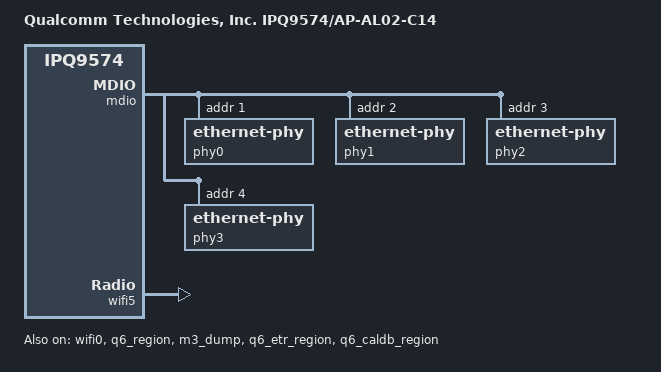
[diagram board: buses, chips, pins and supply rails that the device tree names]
// SPDX-License-Identifier: (GPL-2.0+ OR BSD-3-Clause)
/*
 * IPQ9574 AL02-C14 board device tree source
 *
 * Copyright (c) 2020-2021, The Linux Foundation. All rights reserved.
 * Copyright (c) 2022 Qualcomm Innovation Center, Inc. All rights reserved.
 */

/dts-v1/;

#include "ipq9574-al02-c4.dts"

/ {
        #address-cells = <0x2>;
        #size-cells = <0x2>;
        model = "Qualcomm Technologies, Inc. IPQ9574/AP-AL02-C14";
        compatible = "qcom,ipq9574-ap-al02-c14", "qcom,ipq9574-al08", "qcom,ipq9574";
        interrupt-parent = <&intc>;

        soc {
                dp1 {
                        reg = <0x3a500000 0x4000>;
                        qcom,mactype = <1>;
                        qcom,phy-mdio-addr = <1>;
                };

                dp2 {
                        reg = <0x3a504000 0x4000>;
                        qcom,mactype = <1>;
                        qcom,phy-mdio-addr = <2>;
                };

                dp3 {
                        reg = <0x3a508000 0x4000>;
                        qcom,mactype = <1>;
                        qcom,phy-mdio-addr = <3>;
                };

                dp4 {
                        reg = <0x3a50c000 0x4000>;
                        qcom,mactype = <1>;
                        qcom,phy-mdio-addr = <4>;
                };

                mdio:mdio@90000 {
                        /*gpio60 for manhattan reset*/
                        phy-reset-gpio = <&tlmm 60 0>;
                        phyaddr_fixup = <0xC90F018>;
                        uniphyaddr_fixup = <0xC90F014>;
                        mdio_clk_fixup; /* MDIO clock sequence fix up flag */

                        phy0: ethernet-phy@0 {
                                reg = <1>;
                                fixup;
                        };
                        phy1: ethernet-phy@1 {
                                reg = <2>;
                                fixup;
                        };
                        phy2: ethernet-phy@2 {
                                reg = <3>;
                                fixup;
                        };
                        phy3: ethernet-phy@3 {
                                reg = <4>;
                                fixup;
                        };
                };

                ess-instance {
                        num_devices = <0x1>;
                        ess-switch@3a000000 {
                                switch_mac_mode = <0x15>; /* mac mode for uniphy instance0*/
                                tm_tick_mode = <1>; /* tm tick mode */

                                qcom,port_phyinfo {
                                        port@0 {
                                                phy_address = <1>;
                                        };
                                        port@1 {
                                                phy_address = <2>;
                                        };
                                        port@2 {
                                                phy_address = <3>;
                                        };
                                        port@3 {
                                                phy_address = <4>;
                                        };
                                };

                                led_source@0 {
                                        source = <0>;
                                        mode = "normal";
                                        speed = "all";
                                        blink_en = "enable";
                                        active = "high";
                                };
                                led_source@3 {
                                        source = <3>;
                                        mode = "normal";
                                        speed = "all";
                                        blink_en = "enable";
                                        active = "high";
                                };
                                led_source@6 {
                                        source = <6>;
                                        mode = "normal";
                                        speed = "all";
                                        blink_en = "enable";
                                        active = "high";
                                };
                                led_source@9 {
                                        source = <9>;
                                        mode = "normal";
                                        speed = "all";
                                        blink_en = "enable";
                                        active = "high";
                                };
                        };
                };

                nss-macsec0 {
                        compatible = "qcom,nss-macsec";
                        phy_addr = <0x1>;
                        mdiobus = <&mdio>;
                };
                nss-macsec1 {
                        compatible = "qcom,nss-macsec";
                        phy_addr = <0x2>;
                        mdiobus = <&mdio>;
                };
                nss-macsec2 {
                        compatible = "qcom,nss-macsec";
                        phy_addr = <0x3>;
                        mdiobus = <&mdio>;
                };
                nss-macsec3 {
                        compatible = "qcom,nss-macsec";
                        phy_addr = <0x4>;
                        mdiobus = <&mdio>;
                };
        };
};

&pcie2_x2 {
	status = "disabled";
};

&pcie2_phy {
	status = "disabled";
};

&pcie3_x2 {
	status = "disabled";
};

&pcie3_phy {
	status = "disabled";
};

&qcn9224_pcie2 {
        status = "disabled";
};

&mhi_region2 {
        status = "disabled";
};

&qcn9224_pcie3 {
        status = "disabled";
};

&mhi_region3 {
        status = "disabled";
};

&wifi0 {
	// 1 below indicates GPIO is active low
	led-gpio = <&tlmm 64 1>;
	qcom,board_id = <0x20>;
	status = "ok";
};

&wifi5 {
	/* QCN9224 split-radio 5G + 6G */
	hremote_node = <&qcn9224_pcie1>;
	board_id = <0x1006>;
	hw_link_id = <0 1>;
	status = "ok";
};

&wifi6 {
	status = "disabled";
};

&wifi7 {
	status = "disabled";
};


&q6_region {
	status = "ok";
};

&m3_dump {
	status = "ok";
};

&q6_etr_region {
	status = "ok";
};

&q6_caldb_region {
	status = "ok";
};

&cpu_opp_table {
	opp-1800000000 {
		opp-supported-hw = <0>;
	};

	opp-2208000000 {
		opp-supported-hw = <0>;
	};
};
